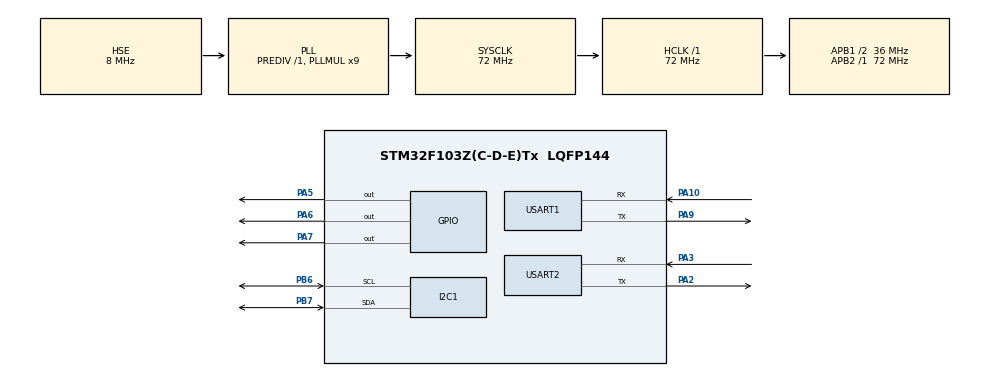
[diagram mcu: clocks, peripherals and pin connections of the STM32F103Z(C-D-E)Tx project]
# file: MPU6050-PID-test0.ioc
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Mcu.Family=STM32F1
Mcu.Name=STM32F103Z(C-D-E)Tx
Mcu.Package=LQFP144
NVIC.I2C1_ER_IRQn=true\:2\:0\:true\:false\:true\:true\:true
NVIC.I2C1_EV_IRQn=true\:2\:0\:true\:false\:true\:true\:true
NVIC.PriorityGroup=NVIC_PRIORITYGROUP_4
NVIC.USART1_IRQn=true\:2\:0\:true\:false\:true\:true\:true
NVIC.USART2_IRQn=true\:2\:0\:true\:false\:true\:true\:true
OSC_IN.Mode=HSE-External-Oscillator
OSC_IN.Signal=RCC_OSC_IN
OSC_OUT.Mode=HSE-External-Oscillator
OSC_OUT.Signal=RCC_OSC_OUT
PA10.Mode=Asynchronous
PA10.Signal=USART1_RX
PA13.Mode=Serial_Wire
PA13.Signal=SYS_JTMS-SWDIO
PA14.Mode=Serial_Wire
PA14.Signal=SYS_JTCK-SWCLK
PA2.Mode=Asynchronous
PA2.Signal=USART2_TX
PA3.Mode=Asynchronous
PA3.Signal=USART2_RX
PA5.GPIO_PuPd=GPIO_PULLUP
PA5.GPIO_Speed=GPIO_SPEED_FREQ_HIGH
PA5.PinState=GPIO_PIN_SET
PA5.Signal=GPIO_Output
PA6.GPIO_PuPd=GPIO_PULLUP
PA6.GPIO_Speed=GPIO_SPEED_FREQ_HIGH
PA6.PinState=GPIO_PIN_SET
PA6.Signal=GPIO_Output
PA7.GPIO_ModeDefaultOutputPP=GPIO_MODE_OUTPUT_PP
PA7.GPIO_PuPd=GPIO_PULLUP
PA7.GPIO_Speed=GPIO_SPEED_FREQ_HIGH
PA7.PinState=GPIO_PIN_SET
PA7.Signal=GPIO_Output
PA9.Mode=Asynchronous
PA9.Signal=USART1_TX
PB6.Mode=I2C
PB6.Signal=I2C1_SCL
PB7.Mode=I2C
PB7.Signal=I2C1_SDA
PC14-OSC32_IN.Mode=LSE-External-Oscillator
PC14-OSC32_IN.Signal=RCC_OSC32_IN
PC15-OSC32_OUT.Mode=LSE-External-Oscillator
PC15-OSC32_OUT.Signal=RCC_OSC32_OUT
ProjectManager.HeapSize=0x200
ProjectManager.StackSize=0x400
ProjectManager.TargetToolchain=MDK-ARM V5.27
RCC.AHBFreq_Value=72000000
RCC.APB1CLKDivider=RCC_HCLK_DIV2
RCC.APB1Freq_Value=36000000
RCC.APB1TimFreq_Value=72000000
RCC.APB2Freq_Value=72000000
RCC.APB2TimFreq_Value=72000000
RCC.HCLKFreq_Value=72000000
RCC.PLLMUL=RCC_PLL_MUL9
RCC.PLLSourceVirtual=RCC_PLLSOURCE_HSE
RCC.SYSCLKFreq_VALUE=72000000
RCC.SYSCLKSource=RCC_SYSCLKSOURCE_PLLCLK
RCC.USBFreq_Value=72000000
USART1.VirtualMode=VM_ASYNC
USART2.VirtualMode=VM_ASYNC
board=custom

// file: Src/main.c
/* USER CODE BEGIN Header */
/**
  ******************************************************************************
  * @file           : main.c
  * @brief          : Main program body
  ******************************************************************************
  * @attention
  *
  * <h2><center>&copy; Copyright (c) 2021 STMicroelectronics.
  * All rights reserved.</center></h2>
  *
  * This software component is licensed by ST under BSD 3-Clause license,
  * the "License"; You may not use this file except in compliance with the
  * License. You may obtain a copy of the License at:
  *                        opensource.org/licenses/BSD-3-Clause
  *
  ******************************************************************************
  */
/* USER CODE END Header */

#include "main.h"
#include "i2c.h"
#include "usart.h"
#include "gpio.h"

/* USER CODE BEGIN Includes */
#include <string.h>
#include <stdio.h>
#include "../../../Hardware/MPU6050/mpu6050.h"
#include "../../../Hardware/MPU6050/delay.h"
#include "../../../Hardware/MPU6050/eMPL/inv_mpu.h"
#include "../../../Hardware/MPU6050/eMPL/inv_mpu_dmp_motion_driver.h"
#include "stm32f1xx_it.h"
#include <math.h>
#include <stdlib.h>
#include "protocol.h"
#include "PID1.h"

/* USER CODE END Includes */

/* USER CODE BEGIN PTD */
//int fputc(int ch, FILE *f)
//{
//    uint8_t temp[1]={ch};
//    HAL_UART_Transmit(&huart1, temp, 1, HAL_MAX_DELAY);
//    return ch;
//}
/* USER CODE END PTD */

/* USER CODE BEGIN PV */
float pitch[3],roll[3],yaw[3];//欧拉角
short aacx[3],aacy[3],aacz[3];//加速度传感器原始数据
short gyrox[3],gyroy[3],gyroz[3];//陀螺仪原始数据
short temp[3];//温度
extern float SetAngle1;
extern float SetAngle2;
//float pitch_1,roll_1,yaw_1; 		//欧拉角
//short aacx_1,aacy_1,aacz_1;		//加速度传感器原始数据
//short gyrox_1,gyroy_1,gyroz_1;	//陀螺仪原始数据
//float pitch_2,roll_2,yaw_2; 		//欧拉角
//short aacx_2,aacy_2,aacz_2;		//加速度传感器原始数据
//short gyrox_2,gyroy_2,gyroz_2;	//陀螺仪原始数据
//float pitch_3,roll_3,yaw_3; 		//欧拉角
//short aacx_3,aacy_3,aacz_3;		//加速度传感器原始数据
//short gyrox_3,gyroy_3,gyroz_3;	//陀螺仪原始数据
//short temp1, temp2, temp3;					//温度

extern int i, k;
extern uint8_t receivedata;
uint8_t EventFlag;
//int voltage_limit=2500;

/* USER CODE END PV */

void SystemClock_Config(void);

/* USER CODE BEGIN 0 */
#define USART_REC_LEN 200
uint8_t		Res;
uint8_t 	USART1_RX_BUF[USART_REC_LEN];     //接收缓冲,最大USART_REC_LEN个字节.（一般给200，接收数据量大就增加）
uint16_t  USART1_RX_STA;       			 				//接收状态标记
float voltage_out1=0;
float voltage_out2=0;

/* USER CODE END 0 */

int main(void)
{

  /* MCU Configuration--------------------------------------------------------*/

  /* Reset of all peripherals, Initializes the Flash interface and the Systick. */
  HAL_Init();

  /* Configure the system clock */
  SystemClock_Config();

  /* Initialize all configured peripherals */
  MX_GPIO_Init();
  MX_I2C1_Init();
  MX_USART1_UART_Init();
  MX_USART2_UART_Init();
  /* USER CODE BEGIN 2 */
//	HAL_UART_Receive_IT(&huart1, &receivedata, 1);   //使能接收中断串口1
  __HAL_UART_ENABLE_IT(&huart1,UART_IT_RXNE);
  protocol_init();
  Three_MPU6050_Init();

	joint1_PID_init(&pid_roll1_structure, &pid_pitch1_structure);
	joint2_PID_init(&pid_roll2_structure, &pid_pitch2_structure);
	joint3_PID_init(&pid_roll3_structure, &pid_pitch3_structure);
  /* USER CODE END 2 */

  /* Infinite loop */
  while (1)
  {

    /* USER CODE BEGIN 3 */
//    if(EventFlag==0x02){
//			Get_Three_MPU6050_data();
	  	Get_joint3_MPU6050_data();
			joint_motion_3(pid_roll3_structure.SetVal, pid_pitch3_structure.SetVal);
//		}
//      joint_motion_3(10, 10);
//		arm_motion_1();
//		arm_one_motion();//单步运动测试

}
  /* USER CODE END 3 */
}

void SystemClock_Config(void)
{
  RCC_OscInitTypeDef RCC_OscInitStruct = {0};
  RCC_ClkInitTypeDef RCC_ClkInitStruct = {0};

  /** Initializes the CPU, AHB and APB busses clocks
  */
  RCC_OscInitStruct.OscillatorType = RCC_OSCILLATORTYPE_HSE;
  RCC_OscInitStruct.HSEState = RCC_HSE_ON;
  RCC_OscInitStruct.HSEPredivValue = RCC_HSE_PREDIV_DIV1;
  RCC_OscInitStruct.HSIState = RCC_HSI_ON;
  RCC_OscInitStruct.PLL.PLLState = RCC_PLL_ON;
  RCC_OscInitStruct.PLL.PLLSource = RCC_PLLSOURCE_HSE;
  RCC_OscInitStruct.PLL.PLLMUL = RCC_PLL_MUL9;
  if (HAL_RCC_OscConfig(&RCC_OscInitStruct) != HAL_OK)
  {
    Error_Handler();
  }
  /** Initializes the CPU, AHB and APB busses clocks
  */
  RCC_ClkInitStruct.ClockType = RCC_CLOCKTYPE_HCLK|RCC_CLOCKTYPE_SYSCLK
                              |RCC_CLOCKTYPE_PCLK1|RCC_CLOCKTYPE_PCLK2;
  RCC_ClkInitStruct.SYSCLKSource = RCC_SYSCLKSOURCE_PLLCLK;
  RCC_ClkInitStruct.AHBCLKDivider = RCC_SYSCLK_DIV1;
  RCC_ClkInitStruct.APB1CLKDivider = RCC_HCLK_DIV2;
  RCC_ClkInitStruct.APB2CLKDivider = RCC_HCLK_DIV1;

  if (HAL_RCC_ClockConfig(&RCC_ClkInitStruct, FLASH_LATENCY_2) != HAL_OK)
  {
    Error_Handler();
  }
}

/* USER CODE BEGIN 4 */

//初始化三个MPU6050
void Three_MPU6050_Init(void)
{
//初始化MPU6050	1
	HAL_GPIO_WritePin(GPIOA,GPIO_PIN_5,GPIO_PIN_RESET);
	HAL_GPIO_WritePin(GPIOA,GPIO_PIN_6,GPIO_PIN_SET);
	HAL_GPIO_WritePin(GPIOA,GPIO_PIN_7,GPIO_PIN_SET);
	while(MPU_Init());
	printf("%s\r\n","Mpu_1 Initializing");
	while(mpu_dmp_init())
	{
		delay_ms(200);
		printf("%s\r\n","Mpu_1 Init Wrong!");
	}
	printf("%s\r\n","Mpu_1 Init OK!");
//初始化MPU6050 2
	HAL_GPIO_WritePin(GPIOA,GPIO_PIN_6,GPIO_PIN_RESET);
	HAL_GPIO_WritePin(GPIOA,GPIO_PIN_5,GPIO_PIN_SET);
	HAL_GPIO_WritePin(GPIOA,GPIO_PIN_7,GPIO_PIN_SET);
	while(MPU_Init());
	printf("%s\r\n","Mpu_2 Initializing");
	while(mpu_dmp_init())
	{
		delay_ms(200);
		printf("%s\r\n","Mpu_2 Init Wrong!");
	}
	printf("%s\r\n","Mpu_2 Init OK!");
//初始化MPU6050 3
	HAL_GPIO_WritePin(GPIOA,GPIO_PIN_7,GPIO_PIN_RESET);
	HAL_GPIO_WritePin(GPIOA,GPIO_PIN_6,GPIO_PIN_SET);
	HAL_GPIO_WritePin(GPIOA,GPIO_PIN_6,GPIO_PIN_SET);
	while(MPU_Init());
	printf("%s\r\n","Mpu_3 Initializing");
	while(mpu_dmp_init())
	{
		delay_ms(200);
		printf("%s\r\n","Mpu_3 Init Wrong!");
	}
	printf("%s\r\n","Mpu_3 Init OK!");
}

void Get_joint1_MPU6050_data(void)
{
//读取MPU6050	1
	HAL_GPIO_WritePin(GPIOA,GPIO_PIN_5,GPIO_PIN_RESET);
	HAL_GPIO_WritePin(GPIOA,GPIO_PIN_6,GPIO_PIN_SET);
	HAL_GPIO_WritePin(GPIOA,GPIO_PIN_7,GPIO_PIN_SET);
	while(mpu_dmp_get_data(&pitch[0],&roll[0],&yaw[0]))
	{
  temp[0]=MPU_Get_Temperature();								//得到温度值
  MPU_Get_Accelerometer(&aacx[0],&aacy[0],&aacz[0]);	//得到加速度传感器数据
	MPU_Get_Gyroscope(&gyrox[0],&gyroy[0],&gyroz[0]);	//得到陀螺仪数据
	}
}

void Get_joint2_MPU6050_data(void)
{
//读取MPU6050	2
	HAL_GPIO_WritePin(GPIOA,GPIO_PIN_6,GPIO_PIN_RESET);
	HAL_GPIO_WritePin(GPIOA,GPIO_PIN_5,GPIO_PIN_SET);
	HAL_GPIO_WritePin(GPIOA,GPIO_PIN_7,GPIO_PIN_SET);
	while(mpu_dmp_get_data(&pitch[1],&roll[1],&yaw[1]))
	{
  temp[1]=MPU_Get_Temperature();								//得到温度值
  MPU_Get_Accelerometer(&aacx[1],&aacy[1],&aacz[1]);	//得到加速度传感器数据
	MPU_Get_Gyroscope(&gyrox[1],&gyroy[1],&gyroz[1]);	//得到陀螺仪数据
	}
			int32_t data_1=100*roll[1];
//		int32_t data_3=100*pitch[2];
		set_computer_value(0x02, 0x01, &data_1, 1);
//		set_computer_value(0x02, 0x02, &data_3, 1);
//	printf("pitch_3=%f  roll_3=%f  \r\n", pitch[2],roll[2]);
}

void Get_joint3_MPU6050_data(void)
{
//读取MPU6050	3
	HAL_GPIO_WritePin(GPIOA,GPIO_PIN_7,GPIO_PIN_RESET);
	HAL_GPIO_WritePin(GPIOA,GPIO_PIN_5,GPIO_PIN_SET);
	HAL_GPIO_WritePin(GPIOA,GPIO_PIN_6,GPIO_PIN_SET);
	while(mpu_dmp_get_data(&pitch[2],&roll[2],&yaw[2]))
	{
  temp[2]=MPU_Get_Temperature();								//得到温度值
  MPU_Get_Accelerometer(&aacx[2],&aacy[2],&aacz[2]);	//得到加速度传感器数据
	MPU_Get_Gyroscope(&gyrox[2],&gyroy[2],&gyroz[2]);	//得到陀螺仪数据
  }
		int32_t data_1=100*roll[2];
//		int32_t data_3=100*pitch[2];
		set_computer_value(0x02, 0x01, &data_1, 1);
//		set_computer_value(0x02, 0x02, &data_3, 1);
//	printf("pitch_3=%f  roll_3=%f  \r\n", pitch[2],roll[2]);
}
void Get_Three_MPU6050_data(void)
{

//读取MPU6050	1
	HAL_GPIO_WritePin(GPIOA,GPIO_PIN_5,GPIO_PIN_RESET);
	HAL_GPIO_WritePin(GPIOA,GPIO_PIN_6,GPIO_PIN_SET);
	HAL_GPIO_WritePin(GPIOA,GPIO_PIN_7,GPIO_PIN_SET);
	while(mpu_dmp_get_data(&pitch[0],&roll[0],&yaw[0]))
	{
  temp[0]=MPU_Get_Temperature();								//得到温度值
  MPU_Get_Accelerometer(&aacx[0],&aacy[0],&aacz[0]);	//得到加速度传感器数据
	MPU_Get_Gyroscope(&gyrox[0],&gyroy[0],&gyroz[0]);	//得到陀螺仪数据

	}
//	HAL_Delay(100);

//读取MPU6050	2
	HAL_GPIO_WritePin(GPIOA,GPIO_PIN_6,GPIO_PIN_RESET);
	HAL_GPIO_WritePin(GPIOA,GPIO_PIN_5,GPIO_PIN_SET);
	HAL_GPIO_WritePin(GPIOA,GPIO_PIN_7,GPIO_PIN_SET);
	while(mpu_dmp_get_data(&pitch[1],&roll[1],&yaw[1]))
	{
  temp[1]=MPU_Get_Temperature();								//得到温度值
  MPU_Get_Accelerometer(&aacx[1],&aacy[1],&aacz[1]);	//得到加速度传感器数据
	MPU_Get_Gyroscope(&gyrox[1],&gyroy[1],&gyroz[1]);	//得到陀螺仪数据

	}
//	HAL_Delay(100);

//读取MPU6050	3
	HAL_GPIO_WritePin(GPIOA,GPIO_PIN_7,GPIO_PIN_RESET);
	HAL_GPIO_WritePin(GPIOA,GPIO_PIN_5,GPIO_PIN_SET);
	HAL_GPIO_WritePin(GPIOA,GPIO_PIN_6,GPIO_PIN_SET);
	while(mpu_dmp_get_data(&pitch[2],&roll[2],&yaw[2]))
	{
  temp[2]=MPU_Get_Temperature();								//得到温度值
  MPU_Get_Accelerometer(&aacx[2],&aacy[2],&aacz[2]);	//得到加速度传感器数据
	MPU_Get_Gyroscope(&gyrox[2],&gyroy[2],&gyroz[2]);	//得到陀螺仪数据

  }
//	uint32_t data0=roll[0];
//	uint32_t data1=pitch[0];
//	set_computer_value(0x02, 0x01, &data0, 1);
//	set_computer_value(0x02, 0x02, &data1, 1);
//	set_computer_value(0x02, 0x01, &data, 1);
//	set_computer_value(0x02, 0x04, roll+1, 1);
//	set_computer_value(0x02, 0x05, pitch+2, 1);
//	set_computer_value(0x02, 0x01, void *data, 1);
//	printf("pitch_1=%f  roll_1=%f  \r\n", pitch[0],roll[0]);
//	printf("pitch_2=%f  roll_2=%f  \r\n", pitch[1],roll[1]);
//	printf("pitch_3=%f  roll_3=%f  \r\n", pitch[2],roll[2]);
//	HAL_Delay(100);
}
//void HAL_UART_RxCpltCallback(UART_HandleTypeDef *huart)
//{
//    /* 判断是哪个串口触发的中断 */
//    if(huart ->Instance == USART1)
//    {
//        		//处理接受到的数据
//				if((USART1_RX_STA&0x8000)==0)//接收未完成
//				{
//					//读取接收到的数据
//					if(Res==0x0D)
//					{
//						USART1_RX_STA|=0x8000;
//						HAL_UART_Receive_IT(&huart1, &Res, 1);
//					}
//					else
//					{
//						USART1_RX_BUF[USART1_RX_STA&0X3FFF]=Res ;
//						USART1_RX_STA++;
//						if(USART1_RX_STA>(USART_REC_LEN-1))
//							USART1_RX_STA=0;
//					}
//				}
//				//等待下一次接收中断
//				HAL_UART_Receive_IT(huart,&Res,1);
//    }
//}

void set_p_i_d(pid1_struct *pid,float p, float i, float d)
{
  pid->Kp = p;    // 设置比例系数 P
  pid->Ki = i;    // 设置积分系数 I
  pid->Kd = d;    // 设置微分系数 D
}
void set_pid_target(pid1_struct *pid,float temp_val)
{
  pid->SetVal  = temp_val/100;    // 设置当前的目标值
}

/* USER CODE END 4 */

void Error_Handler(void)
{
}

/************************ (C) COPYRIGHT STMicroelectronics *****END OF FILE****/
